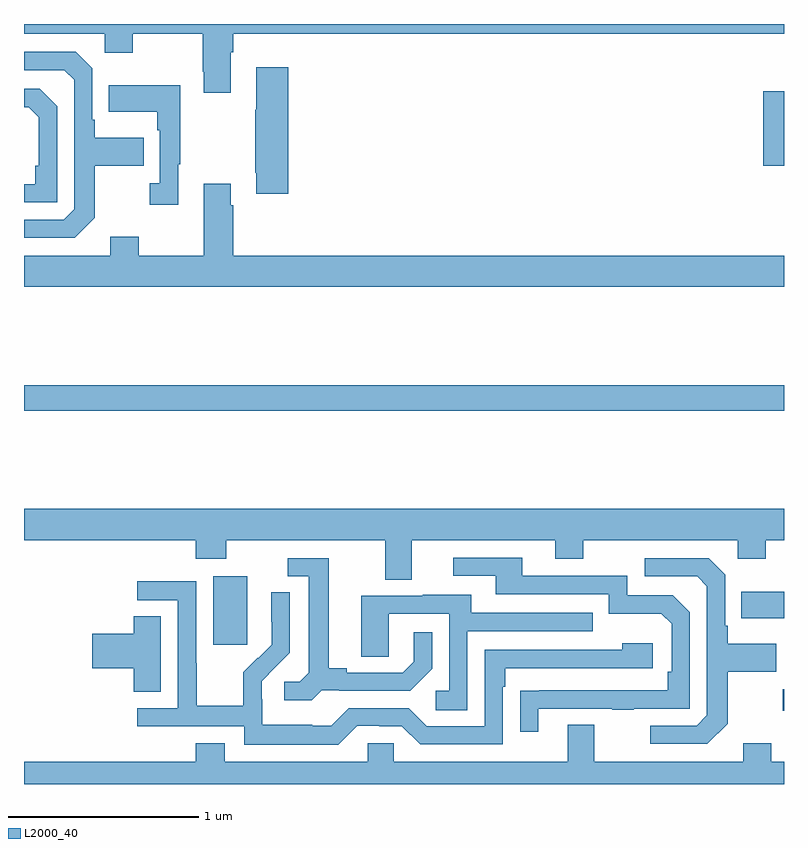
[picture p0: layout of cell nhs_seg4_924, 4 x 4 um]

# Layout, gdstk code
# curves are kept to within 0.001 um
import gdstk
lib = gdstk.Library(unit=1e-6, precision=1e-09)
def R(c, l, rs):  # rectangles x0, y0, x1, y1
    for r in rs: c.add(gdstk.rectangle(r[:2], r[2:], *l))
def P(c, l, *ps):  # polygons
    for p in ps: c.add(gdstk.Polygon(p, *l))
L2000_40 = (2000, 40)

nhs_seg4_924 = lib.new_cell('nhs_seg4_924')
R(nhs_seg4_924, L2000_40, [(162.993,765.285,163,765.398), (159.995,765.633,160.174,765.994), (162.775,765.773,163,765.913), (159,766.864,163,767), (162.89,768.153,163,768.547)])
P(nhs_seg4_924, L2000_40, [(160.087,768.752),(160.1,768.752),(160.1,768.848),(163,768.848),(163,768.9),(159,768.9),(159,768.848),(159.426,768.848),(159.426,768.749),(159.573,768.749),(159.573,768.848),(159.94,768.848),(159.94,768.649),(159.947,768.649),(159.947,768.537),(160.087,768.537)],
  [(159.373,767.881),(159.373,768.154),(159.629,768.154),(159.629,768.301),(159.373,768.301),(159.373,768.397),(159.36,768.397),(159.36,768.666),(159.273,768.753),(159,768.753),(159,768.657),(159.213,768.657),(159.264,768.606),(159.264,767.925),(159.21,767.871),(159,767.871),(159,767.775),(159.267,767.775)],
  [(160.391,768.673),(160.223,768.673),(160.223,768.449),(160.216,768.449),(160.216,768.118),(160.223,768.118),(160.223,768.006),(160.391,768.006)],
  [(159.811,768.161),(159.823,768.161),(159.823,768.577),(159.445,768.577),(159.445,768.437),(159.702,768.437),(159.702,768.341),(159.714,768.341),(159.714,768.062),(159.663,768.062),(159.663,767.949),(159.811,767.949)],
  [(159.174,768.468),(159.084,768.558),(159,768.558),(159,768.461),(159.025,768.461),(159.078,768.408),(159.078,768.154),(159.058,768.154),(159.058,768.057),(159,768.057),(159,767.961),(159.174,767.961)],
  [(163,767.68),(160.1,767.68),(160.1,767.945),(160.087,767.945),(160.087,768.058),(159.947,768.058),(159.947,767.68),(159.603,767.68),(159.603,767.779),(159.455,767.779),(159.455,767.68),(159,767.68),(159,767.516),(163,767.516)],
  [(161.041,766.184),(161.795,766.184),(161.795,766.085),(161.943,766.085),(161.943,766.184),(162.756,766.184),(162.756,766.085),(162.903,766.085),(162.903,766.184),(163,766.184),(163,766.348),(159,766.348),(159,766.184),(159.905,766.184),(159.905,766.085),(160.065,766.085),(160.065,766.184),(160.901,766.184),(160.901,765.976),(161.041,765.976)],
  [(161.707,765.297),(162.097,765.297),(162.097,765.292),(162.209,765.292),(162.209,765.297),(162.504,765.297),(162.504,765.804),(162.414,765.894),(162.174,765.894),(162.174,765.996),(161.623,765.996),(161.623,766.092),(161.259,766.092),(161.259,765.996),(161.483,765.996),(161.483,765.9),(162.078,765.9),(162.078,765.797),(162.355,765.797),(162.408,765.744),(162.408,765.49),(162.388,765.49),(162.388,765.393),(161.611,765.392),(161.611,765.174),(161.707,765.174)],
  [(162.703,765.217),(162.703,765.49),(162.959,765.49),(162.959,765.637),(162.703,765.637),(162.703,765.733),(162.69,765.733),(162.69,766.002),(162.603,766.089),(162.267,766.089),(162.267,765.993),(162.543,765.993),(162.594,765.942),(162.594,765.261),(162.54,765.207),(162.297,765.207),(162.297,765.111),(162.597,765.111)],
  [(160.566,765.393),(160.66,765.393),(160.66,765.39),(161.032,765.39),(161.148,765.506),(161.148,765.7),(161.051,765.7),(161.051,765.543),(160.994,765.486),(160.699,765.486),(160.699,765.509),(160.603,765.509),(160.603,766.089),(160.389,766.089),(160.389,765.993),(160.499,765.993),(160.499,765.485),(160.452,765.438),(160.371,765.438),(160.371,765.341),(160.514,765.341)],
  [(160.755,765.207),(160.871,765.207),(160.871,765.204),(160.989,765.204),(161.085,765.108),(161.52,765.108),(161.52,765.413),(161.533,765.413),(161.533,765.51),(162.31,765.51),(162.31,765.64),(162.149,765.64),(162.149,765.606),(161.424,765.606),(161.424,765.204),(161.121,765.204),(161.025,765.3),(160.71,765.3),(160.617,765.207),(160.517,765.207),(160.517,765.211),(160.254,765.211),(160.254,765.345),(160.252,765.345),(160.252,765.442),(160.398,765.59),(160.398,765.908),(160.302,765.908),(160.302,765.754),(160.304,765.754),(160.304,765.632),(160.233,765.561),(160.23,765.564),(160.153,765.487),(160.153,765.313),(159.909,765.313),(159.909,765.536),(159.906,765.536),(159.906,765.966),(159.597,765.966),(159.597,765.867),(159.81,765.867),(159.81,765.3),(159.597,765.3),(159.597,765.204),(160.158,765.204),(160.158,765.107),(160.655,765.107)],
  [(161.334,765.705),(161.993,765.705),(161.993,765.801),(161.353,765.801),(161.353,765.895),(161.099,765.895),(161.099,765.891),(160.775,765.891),(160.775,765.571),(160.92,765.571),(160.92,765.795),(161.238,765.795),(161.238,765.39),(161.166,765.39),(161.166,765.289),(161.334,765.289)],
  [(159.721,765.782),(159.578,765.782),(159.578,765.692),(159.36,765.692),(159.36,765.509),(159.578,765.509),(159.578,765.385),(159.721,765.385)],
  [(163,765.016),(162.933,765.016),(162.933,765.115),(162.785,765.115),(162.785,765.016),(162.001,765.016),(162.001,765.211),(161.861,765.211),(161.861,765.016),(160.947,765.016),(160.947,765.114),(160.809,765.114),(160.809,765.016),(160.057,765.016),(160.057,765.115),(159.905,765.115),(159.905,765.016),(159,765.016),(159,764.9),(163,764.9)])

lib.write_gds('nhs_seg4_924.gds')
